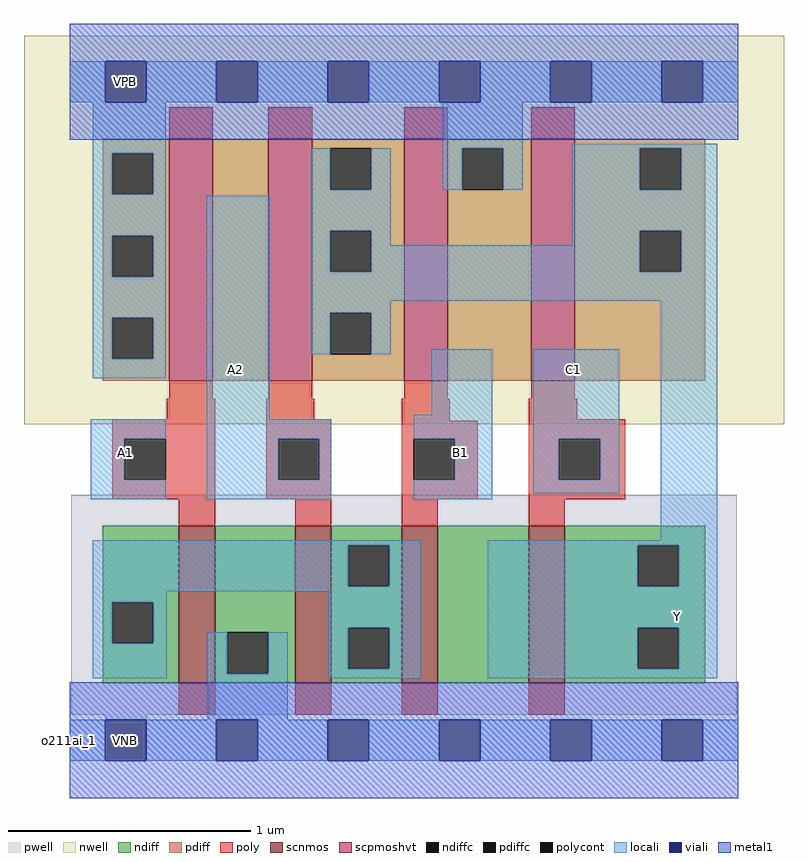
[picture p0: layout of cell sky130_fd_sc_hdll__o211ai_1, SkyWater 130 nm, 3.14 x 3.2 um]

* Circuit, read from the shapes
.subckt sky130_fd_sc_hdll__o211ai_1 A1 A2 B1 C1 VGND VNB VPB VPWR Y
XM1 VGND A1 n1 VNB sky130_fd_pr__nfet_01v8 w=0.65 l=0.15
XM2 n1 A2 VGND VNB sky130_fd_pr__nfet_01v8 w=0.65 l=0.15
XM3 n2 B1 n1 VNB sky130_fd_pr__nfet_01v8 w=0.65 l=0.15
XM4 Y C1 n2 VNB sky130_fd_pr__nfet_01v8 w=0.65 l=0.15
XM5 n3 A1 VPWR VPB sky130_fd_pr__pfet_01v8_hvt w=1 l=0.18
XM6 Y A2 n3 VPB sky130_fd_pr__pfet_01v8_hvt w=1 l=0.18
XM7 VPWR B1 Y VPB sky130_fd_pr__pfet_01v8_hvt w=1 l=0.18
XM8 Y C1 VPWR VPB sky130_fd_pr__pfet_01v8_hvt w=1 l=0.18
.ends

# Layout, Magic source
magic
tech sky130A
magscale 1 2
<< nwell >>
rect -38 261 590 582
<< pwell >>
rect 1 21 551 203
rect 29 -17 63 21
<< scnmos >>
rect 90 47 120 177
rect 186 47 216 177
rect 274 47 304 177
rect 379 47 409 177
<< scpmoshvt >>
rect 82 297 118 497
rect 164 297 200 497
rect 276 297 312 497
rect 381 297 417 497
<< ndiff >>
rect 27 114 90 177
rect 27 80 35 114
rect 69 80 90 114
rect 27 47 90 80
rect 120 89 186 177
rect 120 55 130 89
rect 164 55 186 89
rect 120 47 186 55
rect 216 161 274 177
rect 216 127 230 161
rect 264 127 274 161
rect 216 93 274 127
rect 216 59 230 93
rect 264 59 274 93
rect 216 47 274 59
rect 304 47 379 177
rect 409 161 525 177
rect 409 127 469 161
rect 503 127 525 161
rect 409 93 525 127
rect 409 59 469 93
rect 503 59 525 93
rect 409 47 525 59
<< pdiff >>
rect 27 485 82 497
rect 27 451 35 485
rect 69 451 82 485
rect 27 417 82 451
rect 27 383 35 417
rect 69 383 82 417
rect 27 349 82 383
rect 27 315 35 349
rect 69 315 82 349
rect 27 297 82 315
rect 118 297 164 497
rect 200 489 276 497
rect 200 455 215 489
rect 249 455 276 489
rect 200 421 276 455
rect 200 387 215 421
rect 249 387 276 421
rect 200 353 276 387
rect 200 319 215 353
rect 249 319 276 353
rect 200 297 276 319
rect 312 489 381 497
rect 312 455 324 489
rect 358 455 381 489
rect 312 297 381 455
rect 417 489 525 497
rect 417 455 471 489
rect 505 455 525 489
rect 417 421 525 455
rect 417 387 471 421
rect 505 387 525 421
rect 417 297 525 387
<< ndiffc >>
rect 35 80 69 114
rect 130 55 164 89
rect 230 127 264 161
rect 230 59 264 93
rect 469 127 503 161
rect 469 59 503 93
<< pdiffc >>
rect 35 451 69 485
rect 35 383 69 417
rect 35 315 69 349
rect 215 455 249 489
rect 215 387 249 421
rect 215 319 249 353
rect 324 455 358 489
rect 471 455 505 489
rect 471 387 505 421
<< poly >>
rect 82 497 118 523
rect 164 497 200 523
rect 276 497 312 523
rect 381 497 417 523
rect 82 282 118 297
rect 164 282 200 297
rect 276 282 312 297
rect 381 282 417 297
rect 80 265 120 282
rect 35 249 120 265
rect 35 215 45 249
rect 79 215 120 249
rect 35 199 120 215
rect 162 265 202 282
rect 162 249 216 265
rect 162 215 172 249
rect 206 215 216 249
rect 162 199 216 215
rect 90 177 120 199
rect 186 177 216 199
rect 274 264 314 282
rect 379 265 419 282
rect 274 249 337 264
rect 274 215 284 249
rect 318 215 337 249
rect 274 199 337 215
rect 379 249 459 265
rect 379 215 404 249
rect 438 215 459 249
rect 379 199 459 215
rect 274 177 304 199
rect 379 177 409 199
rect 90 21 120 47
rect 186 21 216 47
rect 274 21 304 47
rect 379 21 409 47
<< polycont >>
rect 45 215 79 249
rect 172 215 206 249
rect 284 215 318 249
rect 404 215 438 249
<< locali >>
rect 0 527 29 561
rect 63 527 121 561
rect 155 527 213 561
rect 247 527 305 561
rect 339 527 397 561
rect 431 527 489 561
rect 523 527 552 561
rect 19 485 79 527
rect 308 489 374 527
rect 19 451 35 485
rect 69 451 79 485
rect 19 417 79 451
rect 199 455 215 489
rect 249 455 265 489
rect 308 455 324 489
rect 358 455 374 489
rect 415 489 535 493
rect 415 455 471 489
rect 505 455 535 489
rect 19 383 35 417
rect 69 383 79 417
rect 19 349 79 383
rect 19 315 35 349
rect 69 315 79 349
rect 19 299 79 315
rect 113 265 165 450
rect 199 421 265 455
rect 199 387 215 421
rect 249 409 265 421
rect 415 421 535 455
rect 415 409 471 421
rect 249 387 471 409
rect 505 387 535 421
rect 199 363 535 387
rect 199 353 265 363
rect 199 319 215 353
rect 249 319 265 353
rect 299 269 349 323
rect 17 249 79 265
rect 17 215 45 249
rect 17 199 79 215
rect 113 249 216 265
rect 113 215 172 249
rect 206 215 216 249
rect 113 199 216 215
rect 284 249 349 269
rect 318 215 349 249
rect 284 199 349 215
rect 383 249 454 323
rect 383 215 404 249
rect 438 215 454 249
rect 383 204 454 215
rect 488 165 535 363
rect 19 161 290 165
rect 19 127 230 161
rect 264 127 290 161
rect 19 123 290 127
rect 19 114 80 123
rect 19 80 35 114
rect 69 80 80 114
rect 214 93 290 123
rect 19 51 80 80
rect 114 55 130 89
rect 164 55 180 89
rect 114 17 180 55
rect 214 59 230 93
rect 264 59 290 93
rect 214 51 290 59
rect 345 161 535 165
rect 345 127 469 161
rect 503 127 535 161
rect 345 93 535 127
rect 345 59 469 93
rect 503 59 535 93
rect 345 51 535 59
rect 0 -17 29 17
rect 63 -17 121 17
rect 155 -17 213 17
rect 247 -17 305 17
rect 339 -17 397 17
rect 431 -17 489 17
rect 523 -17 552 17
<< viali >>
rect 29 527 63 561
rect 121 527 155 561
rect 213 527 247 561
rect 305 527 339 561
rect 397 527 431 561
rect 489 527 523 561
rect 29 -17 63 17
rect 121 -17 155 17
rect 213 -17 247 17
rect 305 -17 339 17
rect 397 -17 431 17
rect 489 -17 523 17
<< metal1 >>
rect 0 561 552 592
rect 0 527 29 561
rect 63 527 121 561
rect 155 527 213 561
rect 247 527 305 561
rect 339 527 397 561
rect 431 527 489 561
rect 523 527 552 561
rect 0 496 552 527
rect 0 17 552 48
rect 0 -17 29 17
rect 63 -17 121 17
rect 155 -17 213 17
rect 247 -17 305 17
rect 339 -17 397 17
rect 431 -17 489 17
rect 523 -17 552 17
rect 0 -48 552 -17
<< labels >>
flabel locali s 29 221 63 255 0 FreeSans 340 0 0 0 A1
port 1 nsew signal input
flabel locali s 120 289 154 323 0 FreeSans 340 0 0 0 A2
port 2 nsew signal input
flabel locali s 485 85 519 119 0 FreeSans 340 0 0 0 Y
port 9 nsew signal output
flabel locali s 399 289 433 323 0 FreeSans 340 0 0 0 C1
port 4 nsew signal input
flabel locali s 306 221 340 255 0 FreeSans 340 0 0 0 B1
port 3 nsew signal input
flabel nwell s 29 527 63 561 0 FreeSans 200 0 0 0 VPB
port 7 nsew power bidirectional
flabel pwell s 29 -17 63 17 0 FreeSans 200 0 0 0 VNB
port 6 nsew ground bidirectional
flabel metal1 s 29 -17 63 17 0 FreeSans 200 0 0 0 VGND
port 5 nsew ground bidirectional
flabel metal1 s 29 527 63 561 0 FreeSans 200 0 0 0 VPWR
port 8 nsew power bidirectional
rlabel comment s 0 0 0 0 4 o211ai_1
<< properties >>
string LEFsite unithd
string LEFclass CORE
string FIXED_BBOX 0 0 552 544
string GDS_FILE $PDKPATH/libs.ref/sky130_fd_sc_hdll/gds/sky130_fd_sc_hdll.gds
string LEFsymmetry X Y R90
string GDS_END 2390896
string GDS_START 2385596
string LEFproperties maskLayoutSubType "abstract" prCellType "standard" originalViewName "layout"
<< end >>
